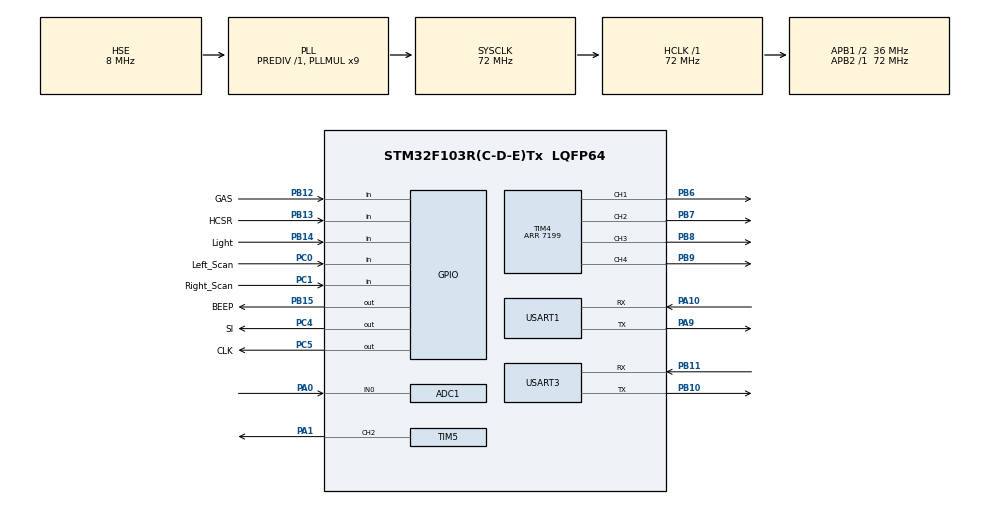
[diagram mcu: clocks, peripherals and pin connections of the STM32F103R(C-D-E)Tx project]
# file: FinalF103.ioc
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ADC1.Channel-0\#ChannelRegularConversion=ADC_CHANNEL_0
ADC1.ContinuousConvMode=DISABLE
ADC1.DataAlign=ADC_DATAALIGN_RIGHT
ADC1.DiscontinuousConvMode=DISABLE
ADC1.EnableAnalogWatchDog=false
ADC1.EnableRegularConversion=ENABLE
ADC1.ExternalTrigConvEdgeChoice=NONE
ADC1.InjNumberOfConversion=0
ADC1.NbrOfConversion=1
ADC1.NbrOfConversionFlag=1
ADC1.Rank-0\#ChannelRegularConversion=1
ADC1.SamplingTime-0\#ChannelRegularConversion=ADC_SAMPLETIME_1CYCLE_5
ADC1.ScanConvMode=ADC_SCAN_DISABLE
ADC1.master=1
FREERTOS.Tasks01=defaultTask,-3,128,StartDefaultTask,Default;BlueTooth,0,256,StartBlueTooth,Default;Start,3,128,StartTask,Default;Status,-1,128,StartStatus,Default;Control,2,256,StartControl,Default;Environment,1,256,StartEnvironment,Default;WIFI,0,256,StartWIFI,Default
FREERTOS.configTOTAL_HEAP_SIZE=30000
FREERTOS.configUSE_IDLE_HOOK=1
Mcu.Family=STM32F1
Mcu.Name=STM32F103R(C-D-E)Tx
Mcu.Package=LQFP64
NVIC.PriorityGroup=NVIC_PRIORITYGROUP_4
NVIC.TIM6_IRQn=true\:0\:0\:false\:false\:true
NVIC.TimeBase=TIM6_IRQn
NVIC.TimeBaseIP=TIM6
NVIC.USART1_IRQn=true\:5\:0\:false\:false\:true
NVIC.USART3_IRQn=true\:5\:0\:false\:false\:true
PA0-WKUP.Signal=ADCx_IN0
PA1.Signal=S_TIM5_CH2
PA10.Mode=Asynchronous
PA10.Signal=USART1_RX
PA13.Mode=Serial_Wire
PA13.Signal=SYS_JTMS-SWDIO
PA14.Mode=Serial_Wire
PA14.Signal=SYS_JTCK-SWCLK
PA9.Mode=Asynchronous
PA9.Signal=USART1_TX
PB10.Mode=Asynchronous
PB10.Signal=USART3_TX
PB11.Mode=Asynchronous
PB11.Signal=USART3_RX
PB12.GPIO_Label=GAS
PB12.Signal=GPIO_Input
PB13.GPIO_Label=HCSR
PB13.Signal=GPIO_Input
PB14.GPIO_Label=Light
PB14.Signal=GPIO_Input
PB15.GPIO_Label=BEEP
PB15.Signal=GPIO_Output
PB6.Signal=S_TIM4_CH1
PB7.Signal=S_TIM4_CH2
PB8.Signal=S_TIM4_CH3
PB9.Signal=S_TIM4_CH4
PC0.GPIO_Label=Left_Scan
PC0.Signal=GPIO_Input
PC1.GPIO_Label=Right_Scan
PC1.Signal=GPIO_Input
PC4.GPIO_Label=SI
PC4.Signal=GPIO_Output
PC5.GPIO_Label=CLK
PC5.Signal=GPIO_Output
PD0-OSC_IN.Mode=HSE-External-Oscillator
PD0-OSC_IN.Signal=RCC_OSC_IN
PD1-OSC_OUT.Mode=HSE-External-Oscillator
PD1-OSC_OUT.Signal=RCC_OSC_OUT
ProjectManager.HeapSize=0x200
ProjectManager.StackSize=0x400
ProjectManager.TargetToolchain=MDK-ARM V5
RCC.ADCPresc=RCC_ADCPCLK2_DIV6
RCC.AHBFreq_Value=72000000
RCC.APB1CLKDivider=RCC_HCLK_DIV2
RCC.APB1Freq_Value=36000000
RCC.APB1TimCLKDivider=2
RCC.APB1TimFreq_Value=72000000
RCC.APB2Freq_Value=72000000
RCC.APB2TimFreq_Value=72000000
RCC.HCLKFreq_Value=72000000
RCC.PLLMUL=RCC_PLL_MUL9
RCC.PLLSourceVirtual=RCC_PLLSOURCE_HSE
RCC.SYSCLKFreq_VALUE=72000000
RCC.SYSCLKSource=RCC_SYSCLKSOURCE_PLLCLK
RCC.USBFreq_Value=72000000
SH.ADCx_IN0.0=ADC1_IN0,IN0
SH.S_TIM4_CH1.0=TIM4_CH1,PWM Generation1 CH1
SH.S_TIM4_CH2.0=TIM4_CH2,PWM Generation2 CH2
SH.S_TIM4_CH3.0=TIM4_CH3,PWM Generation3 CH3
SH.S_TIM4_CH4.0=TIM4_CH4,PWM Generation4 CH4
SH.S_TIM5_CH2.0=TIM5_CH2,PWM Generation2 CH2
TIM4.Channel-PWM\ Generation1\ CH1=TIM_CHANNEL_1
TIM4.Channel-PWM\ Generation2\ CH2=TIM_CHANNEL_2
TIM4.Channel-PWM\ Generation3\ CH3=TIM_CHANNEL_3
TIM4.Channel-PWM\ Generation4\ CH4=TIM_CHANNEL_4
TIM4.Period=7199
TIM5.Channel-PWM\ Generation2\ CH2=TIM_CHANNEL_2
TIM5.Period=9999
TIM5.Prescaler=71
TIM5.Pulse-PWM\ Generation2\ CH2=1499
USART1.VirtualMode=VM_ASYNC
USART3.VirtualMode=VM_ASYNC
VP_FREERTOS_VS_ENABLE.Mode=Enabled
VP_SYS_VS_tim6.Mode=TIM6
board=FinalF103

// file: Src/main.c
/**
  ******************************************************************************
  * File Name          : main.c
  * Description        : Main program body
  ******************************************************************************
  *
  * COPYRIGHT(c) 2016 STMicroelectronics
  *
  * Redistribution and use in source and binary forms, with or without modification,
  * are permitted provided that the following conditions are met:
  *   1. Redistributions of source code must retain the above copyright notice,
  *      this list of conditions and the following disclaimer.
  *   2. Redistributions in binary form must reproduce the above copyright notice,
  *      this list of conditions and the following disclaimer in the documentation
  *      and/or other materials provided with the distribution.
  *   3. Neither the name of STMicroelectronics nor the names of its contributors
  *      may be used to endorse or promote products derived from this software
  *      without specific prior written permission.
  *
  * THIS SOFTWARE IS PROVIDED BY THE COPYRIGHT HOLDERS AND CONTRIBUTORS "AS IS"
  * AND ANY EXPRESS OR IMPLIED WARRANTIES, INCLUDING, BUT NOT LIMITED TO, THE
  * IMPLIED WARRANTIES OF MERCHANTABILITY AND FITNESS FOR A PARTICULAR PURPOSE ARE
  * DISCLAIMED. IN NO EVENT SHALL THE COPYRIGHT HOLDER OR CONTRIBUTORS BE LIABLE
  * FOR ANY DIRECT, INDIRECT, INCIDENTAL, SPECIAL, EXEMPLARY, OR CONSEQUENTIAL
  * DAMAGES (INCLUDING, BUT NOT LIMITED TO, PROCUREMENT OF SUBSTITUTE GOODS OR
  * SERVICES; LOSS OF USE, DATA, OR PROFITS; OR BUSINESS INTERRUPTION) HOWEVER
  * CAUSED AND ON ANY THEORY OF LIABILITY, WHETHER IN CONTRACT, STRICT LIABILITY,
  * OR TORT (INCLUDING NEGLIGENCE OR OTHERWISE) ARISING IN ANY WAY OUT OF THE USE
  * OF THIS SOFTWARE, EVEN IF ADVISED OF THE POSSIBILITY OF SUCH DAMAGE.
  *
  ******************************************************************************
  */
#include "stm32f1xx_hal.h"
#include "cmsis_os.h"

/* USER CODE BEGIN Includes */
#include "ccd.h"
#include "ImageHandle.h"
#include "Blue_Tooth.h"
#include "Control.h"
#include "Motor.h"
#include "esp8266.h"
/* USER CODE END Includes */

ADC_HandleTypeDef hadc1;

TIM_HandleTypeDef htim4;
TIM_HandleTypeDef htim5;

UART_HandleTypeDef huart1;
UART_HandleTypeDef huart3;

osThreadId defaultTaskHandle;
osThreadId BlueToothHandle;
osThreadId StartHandle;
osThreadId StatusHandle;
osThreadId ControlHandle;
osThreadId EnvironmentHandle;
osThreadId WIFIHandle;

/* USER CODE BEGIN PV */
/* Private variables ---------------------------------------------------------*/
volatile  unsigned int OSIdleCtr;    /* 空闲计数器  */
unsigned int OSIdleCtrMax;             /* 一秒最大计数值    */
unsigned int OSIdleCtrRun;             /* 运行时一秒计数值  */
float     OSCPUUsage;               /* CPU占用率  */
uint32_t FreeHeapSpace;

CCD_Info CCD;
uint8_t Line;
uint8_t Left_Scan_Value;
uint8_t Right_Scan_Value;
uint8_t GAS_Value;
uint8_t HCSR_Value;
uint8_t Light_Value;

/* USER CODE END PV */

void SystemClock_Config(void);
static void MX_GPIO_Init(void);
static void MX_ADC1_Init(void);
static void MX_USART1_UART_Init(void);
static void MX_TIM4_Init(void);
static void MX_TIM5_Init(void);
static void MX_USART3_UART_Init(void);
void StartDefaultTask(void const * argument);
void StartBlueTooth(void const * argument);
void StartTask(void const * argument);
void StartStatus(void const * argument);
void StartControl(void const * argument);
void StartEnvironment(void const * argument);
void StartWIFI(void const * argument);

void HAL_TIM_MspPostInit(TIM_HandleTypeDef *htim);

/* USER CODE BEGIN PFP */
/* Private function prototypes -----------------------------------------------*/

/* USER CODE END PFP */

/* USER CODE BEGIN 0 */
#include "stdio.h"
#ifdef __GNUC__
#define PUTCHAR_PROTOTYPE int __io_putchar(int ch)
#else
#define PUTCHAR_PROTOTYPE int fputc(int ch, FILE *f)
#endif
PUTCHAR_PROTOTYPE
{
    HAL_UART_Transmit(&huart3 , (uint8_t *)&ch, 1 , 0xffff);
    return ch;
}
/* USER CODE END 0 */

int main(void)
{

    /* MCU Configuration----------------------------------------------------------*/

    /* Reset of all peripherals, Initializes the Flash interface and the Systick. */
    HAL_Init();

    /* Configure the system clock */
    SystemClock_Config();

    /* Initialize all configured peripherals */
    MX_GPIO_Init();
    MX_ADC1_Init();
    MX_USART1_UART_Init();
    MX_TIM4_Init();
    MX_TIM5_Init();
    MX_USART3_UART_Init();

    /* USER CODE BEGIN 2 */
HAL_TIM_PWM_Start(&htim5, TIM_CHANNEL_2); //舵机
TIM5->CCR2=1499;
    /* USER CODE END 2 */

    /* Create the thread(s) */
    /* definition and creation of defaultTask */
    osThreadDef(defaultTask, StartDefaultTask, osPriorityIdle, 0, 128);
    defaultTaskHandle = osThreadCreate(osThread(defaultTask), NULL);

    /* definition and creation of BlueTooth */
    osThreadDef(BlueTooth, StartBlueTooth, osPriorityNormal, 0, 512);
    BlueToothHandle = osThreadCreate(osThread(BlueTooth), NULL);

    /* definition and creation of Start */
    osThreadDef(Start, StartTask, osPriorityRealtime, 0, 128);
    StartHandle = osThreadCreate(osThread(Start), NULL);

    /* definition and creation of Status */
    osThreadDef(Status, StartStatus, osPriorityBelowNormal, 0, 128);
    StatusHandle = osThreadCreate(osThread(Status), NULL);

    /* definition and creation of Control */
    osThreadDef(Control, StartControl, osPriorityHigh, 0, 256);
    ControlHandle = osThreadCreate(osThread(Control), NULL);

    /* definition and creation of Environment */
    osThreadDef(Environment, StartEnvironment, osPriorityAboveNormal, 0, 256);
    EnvironmentHandle = osThreadCreate(osThread(Environment), NULL);

    /* definition and creation of WIFI */
    osThreadDef(WIFI, StartWIFI, osPriorityNormal, 0, 512);
    WIFIHandle = osThreadCreate(osThread(WIFI), NULL);

    /* Start scheduler */
    osKernelStart();

    /* We should never get here as control is now taken by the scheduler */

    /* Infinite loop */
    while (1)
    {

    }

}

/** System Clock Configuration
*/
void SystemClock_Config(void)
{

    RCC_OscInitTypeDef RCC_OscInitStruct;
    RCC_ClkInitTypeDef RCC_ClkInitStruct;
    RCC_PeriphCLKInitTypeDef PeriphClkInit;

    RCC_OscInitStruct.OscillatorType = RCC_OSCILLATORTYPE_HSE;
    RCC_OscInitStruct.HSEState = RCC_HSE_ON;
    RCC_OscInitStruct.HSEPredivValue = RCC_HSE_PREDIV_DIV1;
    RCC_OscInitStruct.PLL.PLLState = RCC_PLL_ON;
    RCC_OscInitStruct.PLL.PLLSource = RCC_PLLSOURCE_HSE;
    RCC_OscInitStruct.PLL.PLLMUL = RCC_PLL_MUL9;
    HAL_RCC_OscConfig(&RCC_OscInitStruct);

    RCC_ClkInitStruct.ClockType = RCC_CLOCKTYPE_HCLK | RCC_CLOCKTYPE_SYSCLK
                                  | RCC_CLOCKTYPE_PCLK1 | RCC_CLOCKTYPE_PCLK2;
    RCC_ClkInitStruct.SYSCLKSource = RCC_SYSCLKSOURCE_PLLCLK;
    RCC_ClkInitStruct.AHBCLKDivider = RCC_SYSCLK_DIV1;
    RCC_ClkInitStruct.APB1CLKDivider = RCC_HCLK_DIV2;
    RCC_ClkInitStruct.APB2CLKDivider = RCC_HCLK_DIV1;
    HAL_RCC_ClockConfig(&RCC_ClkInitStruct, FLASH_LATENCY_2);

    PeriphClkInit.PeriphClockSelection = RCC_PERIPHCLK_ADC;
    PeriphClkInit.AdcClockSelection = RCC_ADCPCLK2_DIV6;
    HAL_RCCEx_PeriphCLKConfig(&PeriphClkInit);

    HAL_SYSTICK_Config(HAL_RCC_GetHCLKFreq() / 1000);

    HAL_SYSTICK_CLKSourceConfig(SYSTICK_CLKSOURCE_HCLK);

    /* SysTick_IRQn interrupt configuration */
    HAL_NVIC_SetPriority(SysTick_IRQn, 15, 0);
}

/* ADC1 init function */
void MX_ADC1_Init(void)
{

    ADC_ChannelConfTypeDef sConfig;

    /**Common config
    */
    hadc1.Instance = ADC1;
    hadc1.Init.ScanConvMode = ADC_SCAN_DISABLE;
    hadc1.Init.ContinuousConvMode = DISABLE;
    hadc1.Init.DiscontinuousConvMode = DISABLE;
    hadc1.Init.ExternalTrigConv = ADC_SOFTWARE_START;
    hadc1.Init.DataAlign = ADC_DATAALIGN_RIGHT;
    hadc1.Init.NbrOfConversion = 1;
    HAL_ADC_Init(&hadc1);

    /**Configure Regular Channel
    */
    sConfig.Channel = ADC_CHANNEL_0;
    sConfig.Rank = 1;
    sConfig.SamplingTime = ADC_SAMPLETIME_1CYCLE_5;
    HAL_ADC_ConfigChannel(&hadc1, &sConfig);

}

/* TIM4 init function */
void MX_TIM4_Init(void)
{

    TIM_MasterConfigTypeDef sMasterConfig;
    TIM_OC_InitTypeDef sConfigOC;

    htim4.Instance = TIM4;
    htim4.Init.Prescaler = 0;
    htim4.Init.CounterMode = TIM_COUNTERMODE_UP;
    htim4.Init.Period = 7199;
    htim4.Init.ClockDivision = TIM_CLOCKDIVISION_DIV1;
    HAL_TIM_PWM_Init(&htim4);

    sMasterConfig.MasterOutputTrigger = TIM_TRGO_RESET;
    sMasterConfig.MasterSlaveMode = TIM_MASTERSLAVEMODE_DISABLE;
    HAL_TIMEx_MasterConfigSynchronization(&htim4, &sMasterConfig);

    sConfigOC.OCMode = TIM_OCMODE_PWM1;
    sConfigOC.Pulse = 0;
    sConfigOC.OCPolarity = TIM_OCPOLARITY_HIGH;
    sConfigOC.OCFastMode = TIM_OCFAST_DISABLE;
    HAL_TIM_PWM_ConfigChannel(&htim4, &sConfigOC, TIM_CHANNEL_1);

    HAL_TIM_PWM_ConfigChannel(&htim4, &sConfigOC, TIM_CHANNEL_2);

    HAL_TIM_PWM_ConfigChannel(&htim4, &sConfigOC, TIM_CHANNEL_3);

    HAL_TIM_PWM_ConfigChannel(&htim4, &sConfigOC, TIM_CHANNEL_4);

    HAL_TIM_MspPostInit(&htim4);

}

/* TIM5 init function */
void MX_TIM5_Init(void)
{

    TIM_MasterConfigTypeDef sMasterConfig;
    TIM_OC_InitTypeDef sConfigOC;

    htim5.Instance = TIM5;
    htim5.Init.Prescaler = 71;
    htim5.Init.CounterMode = TIM_COUNTERMODE_UP;
    htim5.Init.Period = 9999;
    htim5.Init.ClockDivision = TIM_CLOCKDIVISION_DIV1;
    HAL_TIM_PWM_Init(&htim5);

    sMasterConfig.MasterOutputTrigger = TIM_TRGO_RESET;
    sMasterConfig.MasterSlaveMode = TIM_MASTERSLAVEMODE_DISABLE;
    HAL_TIMEx_MasterConfigSynchronization(&htim5, &sMasterConfig);

    sConfigOC.OCMode = TIM_OCMODE_PWM1;
    sConfigOC.Pulse = 1499;
    sConfigOC.OCPolarity = TIM_OCPOLARITY_HIGH;
    sConfigOC.OCFastMode = TIM_OCFAST_DISABLE;
    HAL_TIM_PWM_ConfigChannel(&htim5, &sConfigOC, TIM_CHANNEL_2);

    HAL_TIM_MspPostInit(&htim5);

}

/* USART1 init function */
void MX_USART1_UART_Init(void)
{

    huart1.Instance = USART1;
    huart1.Init.BaudRate = 115200;
    huart1.Init.WordLength = UART_WORDLENGTH_8B;
    huart1.Init.StopBits = UART_STOPBITS_1;
    huart1.Init.Parity = UART_PARITY_NONE;
    huart1.Init.Mode = UART_MODE_TX_RX;
    huart1.Init.HwFlowCtl = UART_HWCONTROL_NONE;
    huart1.Init.OverSampling = UART_OVERSAMPLING_16;
    HAL_UART_Init(&huart1);

}

/* USART3 init function */
void MX_USART3_UART_Init(void)
{

    huart3.Instance = USART3;
    huart3.Init.BaudRate = 115200;
    huart3.Init.WordLength = UART_WORDLENGTH_8B;
    huart3.Init.StopBits = UART_STOPBITS_1;
    huart3.Init.Parity = UART_PARITY_NONE;
    huart3.Init.Mode = UART_MODE_TX_RX;
    huart3.Init.HwFlowCtl = UART_HWCONTROL_NONE;
    huart3.Init.OverSampling = UART_OVERSAMPLING_16;
    HAL_UART_Init(&huart3);

}

/** Configure pins as
        * Analog
        * Input
        * Output
        * EVENT_OUT
        * EXTI
*/
void MX_GPIO_Init(void)
{

    GPIO_InitTypeDef GPIO_InitStruct;

    /* GPIO Ports Clock Enable */
    __HAL_RCC_GPIOD_CLK_ENABLE();
    __HAL_RCC_GPIOC_CLK_ENABLE();
    __HAL_RCC_GPIOA_CLK_ENABLE();
    __HAL_RCC_GPIOB_CLK_ENABLE();

    /*Configure GPIO pins : Left_Scan_Pin Right_Scan_Pin */
    GPIO_InitStruct.Pin = Left_Scan_Pin | Right_Scan_Pin;
    GPIO_InitStruct.Mode = GPIO_MODE_INPUT;
    GPIO_InitStruct.Pull = GPIO_NOPULL;
    HAL_GPIO_Init(GPIOC, &GPIO_InitStruct);

    /*Configure GPIO pins : SI_Pin CLK_Pin */
    GPIO_InitStruct.Pin = SI_Pin | CLK_Pin;
    GPIO_InitStruct.Mode = GPIO_MODE_OUTPUT_PP;
    GPIO_InitStruct.Speed = GPIO_SPEED_FREQ_LOW;
    HAL_GPIO_Init(GPIOC, &GPIO_InitStruct);

    /*Configure GPIO pins : GAS_Pin HCSR_Pin Light_Pin */
    GPIO_InitStruct.Pin = GAS_Pin | HCSR_Pin | Light_Pin;
    GPIO_InitStruct.Mode = GPIO_MODE_INPUT;
    GPIO_InitStruct.Pull = GPIO_NOPULL;
    HAL_GPIO_Init(GPIOB, &GPIO_InitStruct);

    /*Configure GPIO pin : BEEP_Pin */
    GPIO_InitStruct.Pin = BEEP_Pin;
    GPIO_InitStruct.Mode = GPIO_MODE_OUTPUT_PP;
    GPIO_InitStruct.Speed = GPIO_SPEED_FREQ_LOW;
    HAL_GPIO_Init(BEEP_GPIO_Port, &GPIO_InitStruct);

    /*Configure GPIO pin Output Level */
    HAL_GPIO_WritePin(GPIOC, SI_Pin | CLK_Pin, GPIO_PIN_RESET);

    /*Configure GPIO pin Output Level */
    HAL_GPIO_WritePin(BEEP_GPIO_Port, BEEP_Pin, GPIO_PIN_RESET);

}

/* StartDefaultTask function */
void StartDefaultTask(void const * argument)
{

    for (;;)
    {
        osDelay(1);
    }
}

/* StartBlueTooth function */
void StartBlueTooth(void const * argument)
{
    /* USER CODE BEGIN StartBlueTooth */
    /* Infinite loop */
    for (;;)
    {
        Send_Data(OSCPUUsage, Send_CPUProcesse);
        Send_Data(FreeHeapSpace, Send_FreeHeap);
        Send_Data(Left_Scan_Value, Send_Number1);
        Send_Data(Right_Scan_Value, Send_Number2);
        Send_Data(Line, Send_MidValue);
        Send_Data(GAS_Value, Send_LSpeed);
        Send_Data(HCSR_Value, Send_RSpeed);
        Send_Data(Light_Value, Send_Pitch);
        osDelay(200);
    }
    /* USER CODE END StartBlueTooth */
}

/* StartTask function */
void StartTask(void const * argument)
{
    /* USER CODE BEGIN StartTask */
    /* Infinite loop */
    for (;;)
    {
        osThreadSuspend(EnvironmentHandle);
        osThreadSuspend(WIFIHandle);
        osThreadSuspend(BlueToothHandle);
        osThreadSuspend(StatusHandle);
        osThreadSuspend(ControlHandle);   //任务挂起

        taskENTER_CRITICAL();  //进入临界区
        OSIdleCtr = 0;
        taskEXIT_CRITICAL();  //退出临界区

        osDelay(1000);

        taskENTER_CRITICAL();
        OSIdleCtrMax = OSIdleCtr;//延时一秒后取得一秒运行次数最大值
        taskEXIT_CRITICAL();

        OSIdleCtrMax /= 100;  //方便算百分率
        if (OSIdleCtrMax == 0)
        {
            OSCPUUsage = 0;
        }

        HAL_ADCEx_Calibration_Start(&hadc1);      //ADC校准
        HAL_TIM_PWM_Start(&htim4, TIM_CHANNEL_1); //右轮正转
        HAL_TIM_PWM_Start(&htim4, TIM_CHANNEL_2); //右轮反转
        HAL_TIM_PWM_Start(&htim4, TIM_CHANNEL_3); //左轮正转
        HAL_TIM_PWM_Start(&htim4, TIM_CHANNEL_4); //左轮反转
        HAL_TIM_PWM_Start(&htim5, TIM_CHANNEL_2); //舵机

        CCD_Init();

        PID_init();  //PID初始化

        while (HAL_UART_Receive_IT(&huart1, &usart1_temp,
                                   sizeof(usart1_temp)) != HAL_OK);//开启串口中断
        while (HAL_UART_Receive_IT(&huart3, &usart3_temp,
                                   sizeof(usart3_temp)) != HAL_OK);
        wifi_init();

        osThreadResume(EnvironmentHandle);
        osThreadResume(WIFIHandle);
        osThreadResume(BlueToothHandle);
        osThreadResume(StatusHandle);
        osThreadResume(ControlHandle);       //被挂起任务的恢复

        osThreadTerminate( NULL);    //任务删除

        printf("不知不觉不问不痛不痒多少的时光\r\n");
        printf("不确定的夜晚小巷泪悄悄流淌\r\n");

        osDelay(1);
    }
    /* USER CODE END StartTask */
}

/* StartStatus function */
void StartStatus(void const * argument)
{
    /* USER CODE BEGIN StartStatus */
    /* Infinite loop */
    for (;;)
    {
        taskENTER_CRITICAL();
        OSIdleCtrRun =
            OSIdleCtr;                /*获得上一秒运行数 */
        OSIdleCtr    =
            0;                      /* 下一秒清零 */
        taskEXIT_CRITICAL();
        OSCPUUsage   = (100 - OSIdleCtrRun / (float) OSIdleCtrMax) ;
        OSCPUUsage = ABS(OSCPUUsage); //取绝对值，防止意外产生

        osDelay(1000);       /* 1s统计一次   */
    }
    /* USER CODE END StartStatus */
}

/* StartControl function */
void StartControl(void const * argument)
{
    /* USER CODE BEGIN StartControl */
    /* Infinite loop */
    for (;;)
    {
        CCD_ImageCapture(&CCD);
        Line = GetLine(&CCD);
        Left_Scan_Value = HAL_GPIO_ReadPin(Left_Scan_GPIO_Port, Left_Scan_Pin);
        Right_Scan_Value = HAL_GPIO_ReadPin(Right_Scan_GPIO_Port, Right_Scan_Pin);
        if (MotorOutputFlag)
        {
            if ((!Left_Scan_Value) && (!Right_Scan_Value))
            {
                MotorSpeedR(0);
                MotorSpeedL(0);
                SteerChange(0);
            }
            else
            {
                Pid_Control(Line);
            }
        }
        else
        {
            BlueToothChexk[0]++;
            BlueToothChexk[1]++;
            BlueToothChexk[2]++;
            BlueToothChexk[3]++;
            if ((BlueToothChexk[0] == 50) || (BlueToothChexk[1] == 50)
                || (BlueToothChexk[2] == 50) || (BlueToothChexk[3] == 50))
            {

                BlueToothChexk[0] = 0;
                BlueToothChexk[1] = 0;
                BlueToothChexk[2] = 0;
                BlueToothChexk[3] = 0;
                MotorSpeedR(0);
                MotorSpeedL(0);
                SteerChange(0);

            }
        }
        osDelay(20);
    }
    /* USER CODE END StartControl */
}

/* StartEnvironment function */
void StartEnvironment(void const * argument)
{
    /* USER CODE BEGIN StartEnvironment */
    /* Infinite loop */
    for (;;)
    {
        GAS_Value = HAL_GPIO_ReadPin(GAS_GPIO_Port, GAS_Pin);
        HCSR_Value = HAL_GPIO_ReadPin(HCSR_GPIO_Port, HCSR_Pin);
        Light_Value = HAL_GPIO_ReadPin(Light_GPIO_Port, Light_Pin);
        if (!GAS_Value)
        {
            HAL_GPIO_WritePin(BEEP_GPIO_Port, BEEP_Pin, GPIO_PIN_SET);
        }
        else
        {
            HAL_GPIO_WritePin(BEEP_GPIO_Port, BEEP_Pin, GPIO_PIN_RESET);
        }
        osDelay(100);
    }
    /* USER CODE END StartEnvironment */
}

/* StartWIFI function */
void StartWIFI(void const * argument)
{
    /* USER CODE BEGIN StartWIFI */
    /* Infinite loop */
    for (;;)
    {

        printf("CPU占用率%f%%\r\n", OSCPUUsage);
        printf("内存占用率%d%%\r\n", FreeHeapSpace);
        if (Light_Value == 0)
        {
            printf("强光\r\n");
        }
        else
        {
            printf("弱光\r\n");
        }
        if (HCSR_Value == 0)
        {
            printf("无人\r\n");
        }
        else
        {
            printf("有人\r\n");
        }
        if (GAS_Value == 0)
        {
            printf( "气体有毒\r\n");
        }
        else
        {
            printf("气体无毒\r\n");
        }
        if (Left_Scan_Value == 0)
        {
            printf( "左边有障碍\r\n" );
        }
        else
        {
            printf( "左边无障碍\r\n" );
        }
        if (Right_Scan_Value == 0)
        {
            printf( "右边有障碍\r\n" );
        }
        else
        {
            printf( "右边无障碍\r\n" );
        }
        printf("中线坐标%d\r\n", Line);
        osDelay(1000);
    }
    /* USER CODE END StartWIFI */
}

/************************ (C) COPYRIGHT STMicroelectronics *****END OF FILE****/

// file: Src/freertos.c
/**
  ******************************************************************************
  * File Name          : freertos.c
  * Description        : Code for freertos applications
  ******************************************************************************
  *
  * COPYRIGHT(c) 2016 STMicroelectronics
  *
  * Redistribution and use in source and binary forms, with or without modification,
  * are permitted provided that the following conditions are met:
  *   1. Redistributions of source code must retain the above copyright notice,
  *      this list of conditions and the following disclaimer.
  *   2. Redistributions in binary form must reproduce the above copyright notice,
  *      this list of conditions and the following disclaimer in the documentation
  *      and/or other materials provided with the distribution.
  *   3. Neither the name of STMicroelectronics nor the names of its contributors
  *      may be used to endorse or promote products derived from this software
  *      without specific prior written permission.
  *
  * THIS SOFTWARE IS PROVIDED BY THE COPYRIGHT HOLDERS AND CONTRIBUTORS "AS IS"
  * AND ANY EXPRESS OR IMPLIED WARRANTIES, INCLUDING, BUT NOT LIMITED TO, THE
  * IMPLIED WARRANTIES OF MERCHANTABILITY AND FITNESS FOR A PARTICULAR PURPOSE ARE
  * DISCLAIMED. IN NO EVENT SHALL THE COPYRIGHT HOLDER OR CONTRIBUTORS BE LIABLE
  * FOR ANY DIRECT, INDIRECT, INCIDENTAL, SPECIAL, EXEMPLARY, OR CONSEQUENTIAL
  * DAMAGES (INCLUDING, BUT NOT LIMITED TO, PROCUREMENT OF SUBSTITUTE GOODS OR
  * SERVICES; LOSS OF USE, DATA, OR PROFITS; OR BUSINESS INTERRUPTION) HOWEVER
  * CAUSED AND ON ANY THEORY OF LIABILITY, WHETHER IN CONTRACT, STRICT LIABILITY,
  * OR TORT (INCLUDING NEGLIGENCE OR OTHERWISE) ARISING IN ANY WAY OUT OF THE USE
  * OF THIS SOFTWARE, EVEN IF ADVISED OF THE POSSIBILITY OF SUCH DAMAGE.
  *
  ******************************************************************************
  */

#include "FreeRTOS.h"
#include "task.h"

/* USER CODE BEGIN Variables */
extern volatile  unsigned int OSIdleCtr;    /* 空闲计数器  */
extern unsigned int OSIdleCtrMax;             /* 一秒最大计数值    */
extern unsigned int OSIdleCtrRun;             /* 运行时一秒计数值  */
extern float     OSCPUUsage;               /* CPU占用率  */
extern uint32_t FreeHeapSpace;
/* USER CODE END Variables */

/* Hook prototypes */
void vApplicationIdleHook(void);

/* USER CODE BEGIN 2 */
void vApplicationIdleHook( void )
{
    /* vApplicationIdleHook() will only be called if configUSE_IDLE_HOOK is set
    to 1 in FreeRTOSConfig.h. It will be called on each iteration of the idle
    task. It is essential that code added to this hook function never attempts
    to block in any way (for example, call xQueueReceive() with a block time
    specified, or call vTaskDelay()). If the application makes use of the
    vTaskDelete() API function (as this demo application does) then it is also
    important that vApplicationIdleHook() is permitted to return to its calling
    function, because it is the responsibility of the idle task to clean up
    memory allocated by the kernel to any task that has since been deleted. */
    taskENTER_CRITICAL(); //关中断
    FreeHeapSpace = xPortGetFreeHeapSize();
	        FreeHeapSpace /= 300;
        FreeHeapSpace = 100 - FreeHeapSpace;
    OSIdleCtr++;//空闲计数器加一
    taskEXIT_CRITICAL();                     //开中断
}
/* USER CODE END 2 */

/************************ (C) COPYRIGHT STMicroelectronics *****END OF FILE****/
